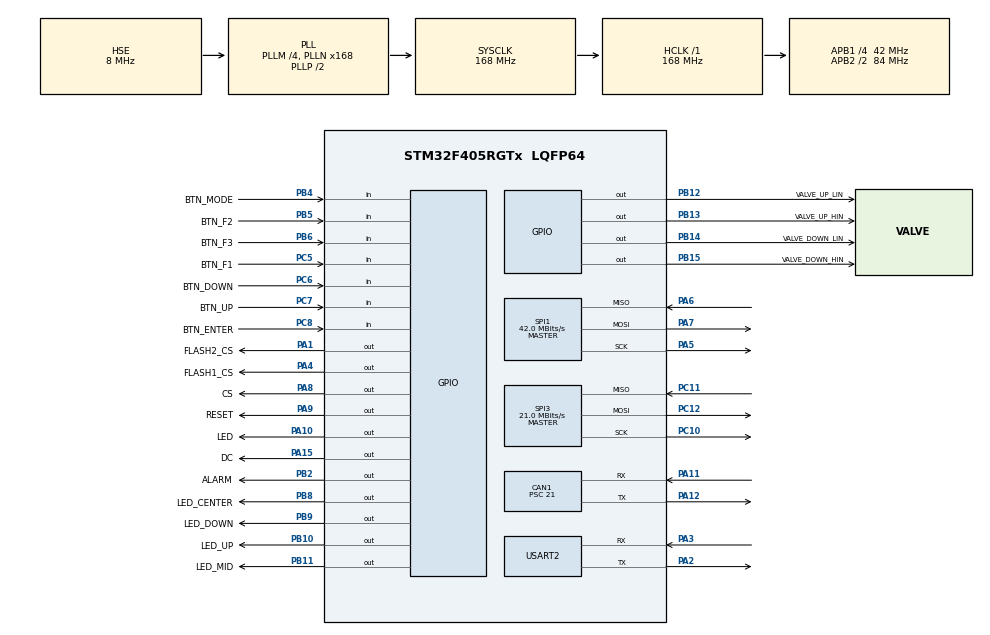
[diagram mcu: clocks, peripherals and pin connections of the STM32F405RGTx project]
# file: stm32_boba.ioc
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ADC1.Channel-0\#ChannelRegularConversion=ADC_CHANNEL_VREFINT
ADC1.ContinuousConvMode=ENABLE
ADC1.NbrOfConversionFlag=1
ADC1.Rank-0\#ChannelRegularConversion=1
ADC1.SamplingTime-0\#ChannelRegularConversion=ADC_SAMPLETIME_480CYCLES
ADC1.master=1
CAN1.BS1=CAN_BS1_13TQ
CAN1.BS2=CAN_BS2_2TQ
CAN1.CalculateBaudRate=125000
CAN1.CalculateTimeBit=8000
CAN1.CalculateTimeQuantum=500.0
CAN1.Prescaler=21
Dma.ADC1.1.Direction=DMA_PERIPH_TO_MEMORY
Dma.ADC1.1.FIFOMode=DMA_FIFOMODE_DISABLE
Dma.ADC1.1.Instance=DMA2_Stream0
Dma.ADC1.1.MemDataAlignment=DMA_MDATAALIGN_HALFWORD
Dma.ADC1.1.MemInc=DMA_MINC_ENABLE
Dma.ADC1.1.Mode=DMA_NORMAL
Dma.ADC1.1.PeriphDataAlignment=DMA_PDATAALIGN_HALFWORD
Dma.ADC1.1.PeriphInc=DMA_PINC_DISABLE
Dma.ADC1.1.Priority=DMA_PRIORITY_LOW
Dma.Request0=SPI3_TX
Dma.Request1=ADC1
Dma.SPI3_TX.0.Direction=DMA_MEMORY_TO_PERIPH
Dma.SPI3_TX.0.FIFOMode=DMA_FIFOMODE_ENABLE
Dma.SPI3_TX.0.FIFOThreshold=DMA_FIFO_THRESHOLD_FULL
Dma.SPI3_TX.0.Instance=DMA1_Stream5
Dma.SPI3_TX.0.MemBurst=DMA_MBURST_SINGLE
Dma.SPI3_TX.0.MemDataAlignment=DMA_MDATAALIGN_BYTE
Dma.SPI3_TX.0.MemInc=DMA_MINC_ENABLE
Dma.SPI3_TX.0.Mode=DMA_NORMAL
Dma.SPI3_TX.0.PeriphBurst=DMA_PBURST_SINGLE
Dma.SPI3_TX.0.PeriphDataAlignment=DMA_PDATAALIGN_BYTE
Dma.SPI3_TX.0.PeriphInc=DMA_PINC_DISABLE
Dma.SPI3_TX.0.Priority=DMA_PRIORITY_LOW
Mcu.Family=STM32F4
Mcu.Name=STM32F405RGTx
Mcu.Package=LQFP64
NVIC.ADC_IRQn=true\:0\:0\:false\:false\:true\:true\:true\:true
NVIC.CAN1_RX0_IRQn=true\:0\:0\:false\:false\:true\:true\:true\:true
NVIC.CAN1_SCE_IRQn=true\:0\:0\:false\:false\:true\:true\:true\:true
NVIC.DMA1_Stream5_IRQn=true\:0\:0\:false\:false\:true\:false\:true\:true
NVIC.DMA2_Stream0_IRQn=true\:0\:0\:false\:false\:true\:false\:true\:true
NVIC.PriorityGroup=NVIC_PRIORITYGROUP_4
NVIC.SPI3_IRQn=true\:0\:0\:false\:false\:true\:true\:true\:true
NVIC.TIM3_IRQn=true\:0\:0\:false\:false\:true\:true\:true\:true
PA1.GPIO_Label=FLASH2_CS
PA1.Signal=GPIO_Output
PA10.GPIO_Label=LED
PA10.Signal=GPIO_Output
PA11.Mode=CAN_Activate
PA11.Signal=CAN1_RX
PA12.Mode=CAN_Activate
PA12.Signal=CAN1_TX
PA13.Mode=Trace_Asynchronous_SW
PA13.Signal=SYS_JTMS-SWDIO
PA14.Mode=Trace_Asynchronous_SW
PA14.Signal=SYS_JTCK-SWCLK
PA15.GPIO_Label=DC
PA15.Signal=GPIO_Output
PA2.Mode=Asynchronous
PA2.Signal=USART2_TX
PA3.Mode=Asynchronous
PA3.Signal=USART2_RX
PA4.GPIO_Label=FLASH1_CS
PA4.PinState=GPIO_PIN_SET
PA4.Signal=GPIO_Output
PA5.Mode=Full_Duplex_Master
PA5.Signal=SPI1_SCK
PA6.Mode=Full_Duplex_Master
PA6.Signal=SPI1_MISO
PA7.Mode=Full_Duplex_Master
PA7.Signal=SPI1_MOSI
PA8.GPIO_Label=CS
PA8.PinState=GPIO_PIN_SET
PA8.Signal=GPIO_Output
PA9.GPIO_Label=RESET
PA9.Signal=GPIO_Output
PB10.GPIO_Label=LED_UP
PB10.Signal=GPIO_Output
PB11.GPIO_Label=LED_MID
PB11.Signal=GPIO_Output
PB12.GPIO_Label=VALVE_UP_LIN
PB12.Signal=GPIO_Output
PB13.GPIO_Label=VALVE_UP_HIN
PB13.PinState=GPIO_PIN_RESET
PB13.Signal=GPIO_Output
PB14.GPIO_Label=VALVE_DOWN_LIN
PB14.Signal=GPIO_Output
PB15.GPIO_Label=VALVE_DOWN_HIN
PB15.PinState=GPIO_PIN_RESET
PB15.Signal=GPIO_Output
PB2.GPIO_Label=ALARM
PB2.Signal=GPIO_Output
PB3.Mode=Trace_Asynchronous_SW
PB3.Signal=SYS_JTDO-SWO
PB4.GPIO_Label=BTN_MODE
PB4.GPIO_PuPd=GPIO_PULLUP
PB4.Signal=GPIO_Input
PB5.GPIO_Label=BTN_F2
PB5.GPIO_PuPd=GPIO_PULLUP
PB5.Signal=GPIO_Input
PB6.GPIO_Label=BTN_F3
PB6.GPIO_PuPd=GPIO_PULLUP
PB6.Signal=GPIO_Input
PB8.GPIO_Label=LED_CENTER
PB8.Signal=GPIO_Output
PB9.GPIO_Label=LED_DOWN
PB9.Signal=GPIO_Output
PC10.Mode=Full_Duplex_Master
PC10.Signal=SPI3_SCK
PC11.Mode=Full_Duplex_Master
PC11.Signal=SPI3_MISO
PC12.Mode=Full_Duplex_Master
PC12.Signal=SPI3_MOSI
PC5.GPIO_Label=BTN_F1
PC5.GPIO_PuPd=GPIO_PULLUP
PC5.Signal=GPIO_Input
PC6.GPIO_Label=BTN_DOWN
PC6.GPIO_PuPd=GPIO_PULLUP
PC6.Signal=GPIO_Input
PC7.GPIO_Label=BTN_UP
PC7.GPIO_PuPd=GPIO_PULLUP
PC7.Signal=GPIO_Input
PC8.GPIO_Label=BTN_ENTER
PC8.GPIO_PuPd=GPIO_PULLUP
PC8.Signal=GPIO_Input
PH0-OSC_IN.Mode=HSE-External-Oscillator
PH0-OSC_IN.Signal=RCC_OSC_IN
PH1-OSC_OUT.Mode=HSE-External-Oscillator
PH1-OSC_OUT.Signal=RCC_OSC_OUT
ProjectManager.HeapSize=0x200
ProjectManager.StackSize=0x400
ProjectManager.TargetToolchain=STM32CubeIDE
RCC.48MHZClocksFreq_Value=84000000
RCC.AHBFreq_Value=168000000
RCC.APB1CLKDivider=RCC_HCLK_DIV4
RCC.APB1Freq_Value=42000000
RCC.APB1TimFreq_Value=84000000
RCC.APB2CLKDivider=RCC_HCLK_DIV2
RCC.APB2Freq_Value=84000000
RCC.APB2TimFreq_Value=168000000
RCC.CortexFreq_Value=168000000
RCC.EnbaleCSS=true
RCC.HCLKFreq_Value=168000000
RCC.HSE_VALUE=8000000
RCC.HSI_VALUE=16000000
RCC.LSE_VALUE=32768
RCC.PLLM=4
RCC.PLLN=168
RCC.PLLSourceVirtual=RCC_PLLSOURCE_HSE
RCC.SYSCLKFreq_VALUE=168000000
RCC.SYSCLKSource=RCC_SYSCLKSOURCE_PLLCLK
RCC.VCOOutputFreq_Value=336000000
SPI1.BaudRatePrescaler=SPI_BAUDRATEPRESCALER_2
SPI1.CalculateBaudRate=42.0 MBits/s
SPI1.Direction=SPI_DIRECTION_2LINES
SPI1.Mode=SPI_MODE_MASTER
SPI1.VirtualType=VM_MASTER
SPI3.CalculateBaudRate=21.0 MBits/s
SPI3.Direction=SPI_DIRECTION_2LINES
SPI3.Mode=SPI_MODE_MASTER
SPI3.VirtualType=VM_MASTER
STMicroelectronics.X-CUBE-TOUCHGFX.4.24.1.ApplicationCcGraphicsJjApplication=TouchGFXOoGenerator
STMicroelectronics.X-CUBE-TOUCHGFX.4.24.1.tgfx_block_size=1920
STMicroelectronics.X-CUBE-TOUCHGFX.4.24.1.tgfx_buffering_strategy=Partial
STMicroelectronics.X-CUBE-TOUCHGFX.4.24.1.tgfx_custom_height=320
STMicroelectronics.X-CUBE-TOUCHGFX.4.24.1.tgfx_custom_width=240
STMicroelectronics.X-CUBE-TOUCHGFX.4.24.1_IsPackSelfContextualization=true
TIM3.AutoReloadPreload=TIM_AUTORELOAD_PRELOAD_DISABLE
TIM3.Period=15
TIM3.Prescaler=44999
USART2.VirtualMode=VM_ASYNC
VP_ADC1_Vref_Input.Mode=IN-Vrefint
VP_CRC_VS_CRC.Mode=CRC_Activate
VP_RTC_VS_RTC_Activate.Mode=RTC_Enabled
VP_STMicroelectronics.X-CUBE-TOUCHGFX_VS_GraphicsJjApplication_4.24.1.Mode=GraphicsJjApplication
VP_TIM3_VS_ClockSourceINT.Mode=Internal
board=custom

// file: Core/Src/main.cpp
/* USER CODE BEGIN Header */
/**
  ******************************************************************************
  * @file           : main.c
  * @brief          : Main program body
  ******************************************************************************
  * @attention
  *
  * Copyright (c) 2024 STMicroelectronics.
  * All rights reserved.
  *
  * This software is licensed under terms that can be found in the LICENSE file
  * in the root directory of this software component.
  * If no LICENSE file comes with this software, it is provided AS-IS.
  *
  ******************************************************************************
  */
/* USER CODE END Header */
#include "main.h"
#include "adc.h"
#include "can.h"
#include "crc.h"
#include "dma.h"
#include "rtc.h"
#include "spi.h"
#include "tim.h"
#include "usart.h"
#include "gpio.h"
#include "app_touchgfx.h"

/* USER CODE BEGIN Includes */
#include "soul.h"
#include "sensor.h"
#include "bmacro.h"
#include "gsystem.h"
#include "hal_defs.h"

#include "App.hpp"

#include "st7796.h"
/* USER CODE END Includes */

/* USER CODE BEGIN PV */

#ifdef DEBUG
static constexpr char MAIN_TAG[] = "MAIN";
#endif

/* USER CODE END PV */

void SystemClock_Config(void);
/* USER CODE BEGIN PFP */
extern "C" void touchgfxSignalVSync(void);
/* USER CODE END PFP */

int main(void)
{

  /* USER CODE BEGIN 1 */
	system_init();
  /* USER CODE END 1 */

  /* MCU Configuration--------------------------------------------------------*/

  /* Reset of all peripherals, Initializes the Flash interface and the Systick. */
  HAL_Init();

  /* USER CODE BEGIN Init */
  if (is_error(SYS_TICK_ERROR)) {
	  system_hsi_config();
  } else {
  /* USER CODE END Init */

  /* Configure the system clock */
  SystemClock_Config();

  }

  /* Initialize all configured peripherals */
  MX_GPIO_Init();
  MX_DMA_Init();
  MX_CRC_Init();
  MX_SPI3_Init();
  MX_TIM3_Init();
  MX_ADC1_Init();
  MX_CAN1_Init();
  MX_SPI1_Init();
  MX_USART2_UART_Init();
  MX_RTC_Init();
  MX_TouchGFX_Init();
  /* USER CODE BEGIN 2 */
    HAL_TIM_Base_Start_IT(&DISPLAY_TIM);

    ST7796_Init();

    system_register(MX_TouchGFX_Process, 1,   true);
    system_register(sensor_tick,         10,  true);
    system_register(app_tick,            100, true);
    system_register(settings_update,     50,  true);

    system_add_button(BTN_F1_GPIO_Port,    BTN_F1_Pin,    true);
	system_add_button(BTN_DOWN_GPIO_Port,  BTN_DOWN_Pin,  true);
	system_add_button(BTN_UP_GPIO_Port,    BTN_UP_Pin,    true);
	system_add_button(BTN_ENTER_GPIO_Port, BTN_ENTER_Pin, true);
	system_add_button(BTN_MODE_GPIO_Port,  BTN_MODE_Pin,  true);
	system_add_button(BTN_F2_GPIO_Port,    BTN_F2_Pin,    true);
	system_add_button(BTN_F3_GPIO_Port,    BTN_F3_Pin,    true);

    set_system_timeout(10 * SECOND_MS);
    system_start();
  /* USER CODE END 2 */

  /* Infinite loop */
	while (1) {

  MX_TouchGFX_Process();
	}
}

void SystemClock_Config(void)
{
  RCC_OscInitTypeDef RCC_OscInitStruct = {};
  RCC_ClkInitTypeDef RCC_ClkInitStruct = {};

  /** Configure the main internal regulator output voltage
  */
  __HAL_RCC_PWR_CLK_ENABLE();
  __HAL_PWR_VOLTAGESCALING_CONFIG(PWR_REGULATOR_VOLTAGE_SCALE1);

  /** Initializes the RCC Oscillators according to the specified parameters
  * in the RCC_OscInitTypeDef structure.
  */
  RCC_OscInitStruct.OscillatorType = RCC_OSCILLATORTYPE_LSI|RCC_OSCILLATORTYPE_HSE;
  RCC_OscInitStruct.HSEState = RCC_HSE_ON;
  RCC_OscInitStruct.LSIState = RCC_LSI_ON;
  RCC_OscInitStruct.PLL.PLLState = RCC_PLL_ON;
  RCC_OscInitStruct.PLL.PLLSource = RCC_PLLSOURCE_HSE;
  RCC_OscInitStruct.PLL.PLLM = 4;
  RCC_OscInitStruct.PLL.PLLN = 168;
  RCC_OscInitStruct.PLL.PLLP = RCC_PLLP_DIV2;
  RCC_OscInitStruct.PLL.PLLQ = 4;
  if (HAL_RCC_OscConfig(&RCC_OscInitStruct) != HAL_OK)
  {
    Error_Handler();
  }

  /** Initializes the CPU, AHB and APB buses clocks
  */
  RCC_ClkInitStruct.ClockType = RCC_CLOCKTYPE_HCLK|RCC_CLOCKTYPE_SYSCLK
                              |RCC_CLOCKTYPE_PCLK1|RCC_CLOCKTYPE_PCLK2;
  RCC_ClkInitStruct.SYSCLKSource = RCC_SYSCLKSOURCE_PLLCLK;
  RCC_ClkInitStruct.AHBCLKDivider = RCC_SYSCLK_DIV1;
  RCC_ClkInitStruct.APB1CLKDivider = RCC_HCLK_DIV4;
  RCC_ClkInitStruct.APB2CLKDivider = RCC_HCLK_DIV2;

  if (HAL_RCC_ClockConfig(&RCC_ClkInitStruct, FLASH_LATENCY_5) != HAL_OK)
  {
    Error_Handler();
  }

  /** Enables the Clock Security System
  */
  HAL_RCC_EnableCSS();
}

/* USER CODE BEGIN 4 */
void system_hse_config(void)
{
	SystemClock_Config();
}

bool is_software_ready(void)
{
	return is_status(SETTINGS_INITIALIZED) &&
           !is_status(NEED_LOAD_SETTINGS)  &&
		   !is_status(NEED_SAVE_SETTINGS);
}

void system_error_loop()
{
	static bool initialized = false;
	static uint32_t delay_ms = 300;
	static system_timer_t led_timer = {};

	if (!initialized) {
		GPIO_InitTypeDef GPIO_InitStruct = {};

		App::stopEngine();

		__HAL_RCC_GPIOB_CLK_ENABLE();
		GPIO_InitStruct.Pin   = VALVE_UP_HIN_Pin|VALVE_UP_LIN_Pin|VALVE_DOWN_LIN_Pin|
				                VALVE_DOWN_HIN_Pin|ALARM_Pin|LED_DOWN_Pin|LED_CENTER_Pin|
								LED_UP_Pin|LED_MID_Pin;
		GPIO_InitStruct.Mode  = GPIO_MODE_OUTPUT_PP;
		GPIO_InitStruct.Pull  = GPIO_NOPULL;
		GPIO_InitStruct.Speed = GPIO_SPEED_FREQ_LOW;
		HAL_GPIO_Init(GPIOB, &GPIO_InitStruct);

		App::stopEngine();

		HAL_GPIO_WritePin(GPIOB, ALARM_Pin, GPIO_PIN_SET);

		system_timer_start(&led_timer, TIM2, delay_ms);

		initialized = true;
	}

	if (!system_timer_wait(&led_timer)) {
		system_timer_start(&led_timer, TIM2, delay_ms);
		HAL_GPIO_TogglePin(LED_CENTER_GPIO_Port, LED_CENTER_Pin);
		HAL_GPIO_TogglePin(LED_DOWN_GPIO_Port,   LED_DOWN_Pin);
		HAL_GPIO_TogglePin(LED_MID_GPIO_Port,    LED_MID_Pin);
		HAL_GPIO_TogglePin(LED_UP_GPIO_Port,     LED_UP_Pin);
	}
}

char* get_custom_status_name(SOUL_STATUS status)
{
	static char name[35] = { 0 };
	memset(name, 0, sizeof(name));

	switch (status) {
	SYSTEM_CASE_STATUS(name, NEED_SERVICE_BACK)
	SYSTEM_CASE_STATUS(name, NEED_SERVICE_SAVE)
	SYSTEM_CASE_STATUS(name, NEED_SERVICE_UPDATE)
	SYSTEM_CASE_STATUS(name, MANUAL_NEED_VALVE_UP)
	SYSTEM_CASE_STATUS(name, MANUAL_NEED_VALVE_DOWN)
	SYSTEM_CASE_STATUS(name, AUTO_NEED_VALVE_UP)
	SYSTEM_CASE_STATUS(name, AUTO_NEED_VALVE_DOWN)
	SYSTEM_CASE_STATUS(name, NEED_RESET_SENSOR)
	SYSTEM_CASE_STATUS(name, SENSOR_REGULATE_FAULT)
	SYSTEM_CASE_STATUS(name, DISPLAY_ERROR)
	SYSTEM_CASE_STATUS(name, UI_ERROR)
	default:
		snprintf(name, sizeof(name) - 1, "%s", SOUL_UNKNOWN_STATUS);
		break;
	}

	return name;
}

void HAL_TIM_PeriodElapsedCallback(TIM_HandleTypeDef *htim)
{
	if (htim->Instance == DISPLAY_TIM.Instance) {
		touchgfxSignalVSync();
	}
}

/* USER CODE END 4 */

void Error_Handler(void)
{
  /* USER CODE BEGIN Error_Handler_Debug */
#ifdef DEBUG
    b_assert(__FILE__, __LINE__, "The error handler has been called");
#endif
    SOUL_STATUS err = has_errors() ? (SOUL_STATUS)get_first_error() : ERROR_HANDLER_CALLED;
	system_error_handler(err);
  /* USER CODE END Error_Handler_Debug */
}

#ifdef  USE_FULL_ASSERT
/**
  * @brief  Reports the name of the source file and the source line number
  *         where the assert_param error has occurred.
  * @param  file: pointer to the source file name
  * @param  line: assert_param error line source number
  * @retval None
  */
void assert_failed(uint8_t *file, uint32_t line)
{
  /* USER CODE BEGIN 6 */
#ifdef DEBUG
	b_assert((char*)file, line, "Wrong parameters value");
#endif
	SOUL_STATUS err = has_errors() ? (SOUL_STATUS)get_first_error() : ASSERT_ERROR;
	system_error_handler(err);
  /* USER CODE END 6 */
}
#endif /* USE_FULL_ASSERT */
